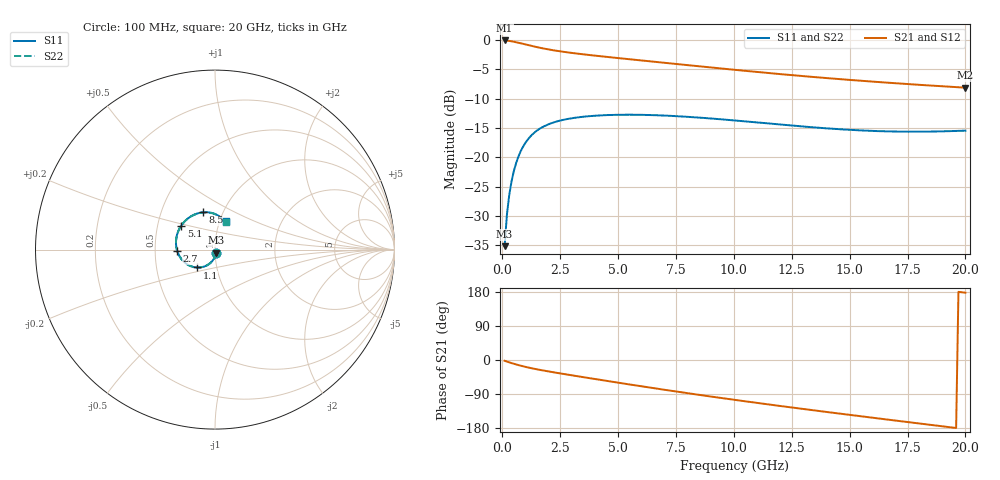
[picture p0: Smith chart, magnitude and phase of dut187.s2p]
! Touchstone file exported from HFSS 2023.1.0
!  File:  D:/Users/fzz/RDL_TSV/temp_RDL_TSV_187_1778755235.aedt
!  Generated:  6:49:25 %x4E0B%x5348  5%x6708 14, 2026
!  Design:  RDL_TSV
!  Project:  temp_RDL_TSV_187_1778755235
!  Setup:  Setup1
!  Solution:  Sweep
! Variables:
!  dtsv = 23.52um
!  hbump = 3um
!  htsv = 87.69um
!  ldown = 382.07um
!  lrdl = 153.91um
!  p = 40
!  p1 = 53.21um
!  rhole = 10um
!  subl = 1761.85um
!  t = 450um
!  tdown = 4.91um
!  trdl = 3.73um
!  viad = 10um
!  wdown = 16.4um
!  wrdl = 28.11um
!  xbump = 18um
# GHz S MA R 50.000000
! Terminal data exported
! Port[1] = TM1_1_T1
! Port[2] = TM1_4_T1
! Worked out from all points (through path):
!   200 points, 100 MHz to 20 GHz, reference 50 ohm
!   highest |S21| = -0.08 dB at 100 MHz (marker M1); lowest = -8.1 dB at 20 GHz (marker M2)
!   group delay of S21, straight-line fit = 24 ps
!   lowest |S11| = -35.1 dB at 100 MHz (marker M3), VSWR 1.04, Z = 50.6 - j1.65 ohm
!   |S11| at or under -10 dB: start of sweep to end of sweep
!   |S22| runs from -35.1 to -12.7 dB; largest |S21 - S12| = 6.6e-14
!   S11 on the Smith chart (normalised r, x): 100 MHz: 1.01, -0.03; 1.1 GHz: 0.80, -0.16; 2.7 GHz: 0.65, -0.01; 5.1 GHz: 0.66, +0.19; 8.5 GHz: 0.80, +0.35; 20 GHz: 1.08, +0.35
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0.1  0.01754 -68.4  0.991 -2.1  0.991 -2.1  0.01754 -68.4
! Gamma 0 0 0 0
! Port Impedance 50 0 50 0
0.2  0.03266 -85.6  0.9874 -4.2  0.9874 -4.2  0.03266 -85.6
0.3  0.04789 -95.0  0.9819 -6.2  0.9819 -6.2  0.04789 -95.0
0.4  0.06263 -102.1  0.9747 -8.2  0.9747 -8.2  0.06263 -102.1
0.5  0.07665 -108.1  0.9664 -10.0  0.9664 -10.0  0.07665 -108.1
0.7  0.1021 -118.5  0.9475 -13.5  0.9475 -13.5  0.1021 -118.5
0.9  0.1238 -127.5  0.927 -16.7  0.927 -16.7  0.1238 -127.5
1.1  0.142 -135.4  0.9066 -19.6  0.9066 -19.6  0.142 -135.4
1.4  0.1635 -145.7  0.8778 -23.4  0.8778 -23.4  0.1634 -145.7
1.7  0.1795 -154.6  0.8526 -27.0  0.8526 -27.0  0.1795 -154.6
2.7  0.2102 -177.6  0.7903 -37.4  0.7903 -37.4  0.2102 -177.6
3.5  0.2221 168.1  0.7549 -45.3  0.7549 -45.3  0.2219 168.2
5.1  0.2308 144.8  0.6982 -60.8  0.6982 -60.8  0.2306 144.8
6.8  0.2281 124.6  0.6455 -76.7  0.6455 -76.7  0.2277 124.7
8.5  0.2183 108.1  0.5971 -92.0  0.5971 -92.0  0.2178 108.2
10.1  0.206 95.8  0.5556 -105.7  0.5556 -105.7  0.2053 95.9
11.7  0.193 86.3  0.5188 -118.9  0.5188 -118.9  0.1923 86.4
13.4  0.1806 79.1  0.4847 -132.4  0.4847 -132.4  0.1798 79.2
15  0.1717 74.7  0.4572 -144.8  0.4572 -144.8  0.171 74.8
16.7  0.1665 71.8  0.432 -157.7  0.432 -157.7  0.1657 71.9
18.3  0.1658 70.0  0.4116 -169.7  0.4116 -169.7  0.165 70.1
20  0.169 68.3  0.3926 177.6  0.3926 177.6  0.1683 68.4
